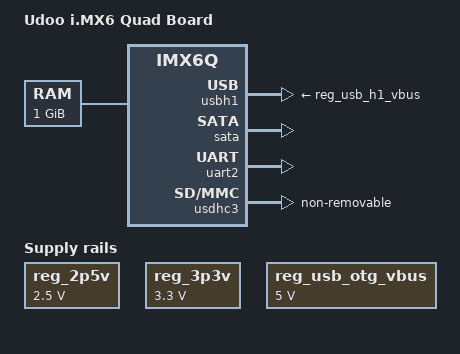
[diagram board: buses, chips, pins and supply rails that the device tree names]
/*
 * Copyright 2013 Freescale Semiconductor, Inc.
 *
 * Author: Fabio Estevam <fabio.estevam <at> freescale.com>
 *
 * This program is free software; you can redistribute it and/or modify
 * it under the terms of the GNU General Public License version 2 as
 * published by the Free Software Foundation.
 *
 */

/dts-v1/;
#include "imx6q.dtsi"
#include "imx6qdl-udoo.dtsi"

/ {
	model = "Udoo i.MX6 Quad Board";
	compatible = "fsl,imx6q-udoo", "fsl,imx6q";

	memory {
		reg = <0x10000000 0x40000000>;
	};
	regulators {
                compatible = "simple-bus";

                reg_2p5v: 2p5v {
                        compatible = "regulator-fixed";
                        regulator-name = "2P5V";
                        regulator-min-microvolt = <2500000>;
                        regulator-max-microvolt = <2500000>;
                        regulator-always-on;
                };

                reg_3p3v: 3p3v {
                        compatible = "regulator-fixed";
                        regulator-name = "3P3V";
                        regulator-min-microvolt = <3300000>;
                        regulator-max-microvolt = <3300000>;
                        regulator-always-on;
                };

                reg_usb_otg_vbus: usb_otg_vbus {
                        compatible = "regulator-fixed";
                        regulator-name = "usb_otg_vbus";
                        regulator-min-microvolt = <5000000>;
                        regulator-max-microvolt = <5000000>;
                        enable-active-high;
                };

//		reg_usb_h1_vbus: regulator@0 {
//			compatible = "regulator-fixed";
//			reg = <0>;
//			regulator-name = "usb_h1_vbus";
//			regulator-min-microvolt = <5000000>;
//			regulator-max-microvolt = <5000000>;
//			enable-active-high;
//			startup-delay-us = <2>; /* USB2415 requires a POR of 1 us minimum */
//			gpio = <&gpio7 12 0>;
//		};
        };
};

&usbh1 { /* USB1 */
	vbus-supply = <&reg_usb_h1_vbus>;
	clocks = <&clks 201>;
	clock-names = "phy";
	status = "okay";
};

&sata {
	status = "okay";
};

&uart2 {
	pinctrl-names = "default";
	pinctrl-0 = <&pinctrl_uart2_1>;
	status = "okay";
};

&usdhc3 {
	pinctrl-names = "default";
	pinctrl-0 = <&pinctrl_usdhc3_2>;
	non-removable;
	status = "okay";
};
